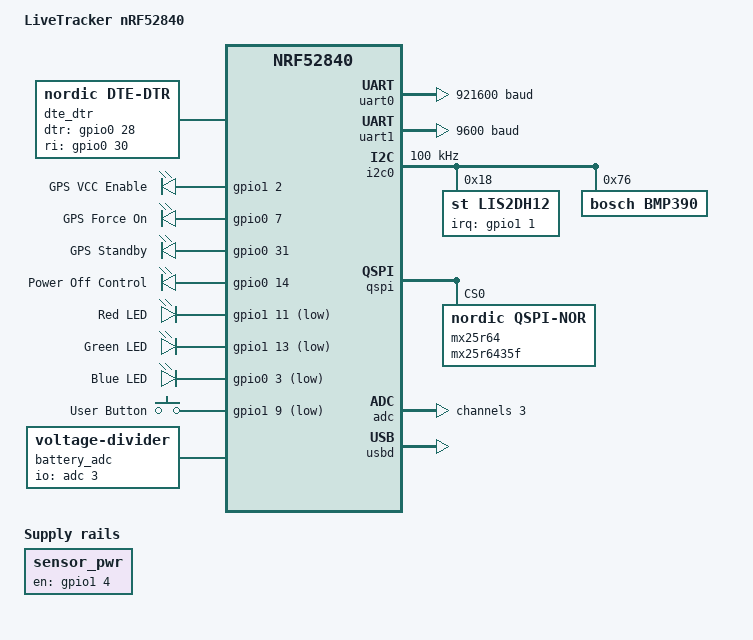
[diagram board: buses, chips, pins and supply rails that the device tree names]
/*
 * LiveTracker nRF52840 Board Device Tree
 *
 * Copyright (c) 2026 nRFModule
 * SPDX-License-Identifier: Apache-2.0
 *
 * Hardware:
 *   - nRF52840 WLCSP BGA100 (U4)
 *   - nRF9151 Cellular Modem (M1) - via UART + DTR/RI
 *   - MX25R6435F 8MB QSPI Flash (U5)
 *   - L76-L GPS Module (U6) - via UART
 *   - LIS2DH12 Accelerometer (U8) - via I2C
 *   - BMP390 Barometer (U9) - via I2C
 *   - RGB LED (D4)
 *   - User Button (SW)
 *   - USB-C Connector (J1)
 *
 * Power Architecture:
 *   - VDD_nRF: Main MCU power (always on)
 *   - VCC_BAT_S: nRF9151 power (always on when battery present)
 *   - VDD_sensors: Sensor power (GPIO controlled via P1.04)
 *   - Vcc_gnss: GPS power (GPIO controlled via P1.02)
 */

/dts-v1/;
#include <nordic/nrf52840_qiaa.dtsi>
#include <nordic/nrf52840_partition.dtsi>
#include "livetracker_nrf52840-pinctrl.dtsi"
#include <zephyr/dt-bindings/gpio/gpio.h>
#include <zephyr/dt-bindings/i2c/i2c.h>
#include <zephyr/dt-bindings/input/input-event-codes.h>

/ {
	model = "LiveTracker nRF52840";
	compatible = "nrfmodule,livetracker-nrf52840";

	chosen {
		zephyr,console = &cdc_acm_uart0;
		zephyr,shell-uart = &cdc_acm_uart0;
		zephyr,uart-mcumgr = &cdc_acm_uart0;
		zephyr,bt-mon-uart = &cdc_acm_uart0;
		zephyr,bt-c2h-uart = &cdc_acm_uart0;
		zephyr,sram = &sram0;
		zephyr,flash = &flash0;
		zephyr,code-partition = &slot0_partition;
		/* Serial Modem UART */
		ncs_sm_uart = &uart0;
	};

	/*
	 * Serial Modem DTR/RI GPIO Configuration
	 *
	 * DTR (Data Terminal Ready): nRF52840 P0.28 -> nRF9151 P0.31 (POWER)
	 *   Output from 52840, used to wake modem
	 *
	 * RI (Ring Indicator): nRF52840 P0.30 <- nRF9151 P0.30 (INDICATE)
	 *   Input to 52840, modem signals incoming data/call
	 */
	dte_dtr: dte_dtr {
		compatible = "nordic,dte-dtr";
		dtr-gpios = <&gpio0 28 GPIO_ACTIVE_HIGH>;
		ri-gpios = <&gpio0 30 GPIO_ACTIVE_HIGH>;
	};

	/*
	 * Power Control GPIOs
	 *
	 * Sensor VCC Enable: nRF52840 P1.04 (ball H1) -> U10 load switch
	 *   Controls VDD_sensors rail for LIS2DH12 and BMP390
	 *
	 * GPS VCC Enable: nRF52840 P1.02 (ball G3) -> U7 load switch
	 *   Controls Vcc_gnss rail for L76-L GPS module
	 *
	 * GPS Force On: nRF52840 P0.07 -> L76-L FORCE_ON pin
	 *   When HIGH, keeps GPS awake (overrides standby)
	 *
	 * GPS Standby: nRF52840 P0.31 -> L76-L STANDBY pin
	 *   When HIGH, puts GPS in low power standby mode
	 *
	 * Power Off: nRF52840 P0.14 -> Main power load switch control
	 *   Default HIGH (power on), set LOW to power off device
	 *
	 * NOTE: Application must enable these before using sensors/GPS
	 */
	sensor_pwr: sensor_pwr {
		compatible = "regulator-fixed";
		regulator-name = "sensor-vcc";
		enable-gpios = <&gpio1 4 GPIO_ACTIVE_HIGH>;
		regulator-boot-on;
		startup-delay-us = <50000>;
	};

	power_control {
		compatible = "gpio-leds";
		gps_vcc_en: gps_vcc_en {
			gpios = <&gpio1 2 GPIO_ACTIVE_HIGH>;
			label = "GPS VCC Enable";
		};
		gps_force_on: gps_force_on {
			gpios = <&gpio0 7 GPIO_ACTIVE_HIGH>;
			label = "GPS Force On";
		};
		gps_standby: gps_standby {
			gpios = <&gpio0 31 GPIO_ACTIVE_HIGH>;
			label = "GPS Standby";
		};
		poweroff_pin: poweroff_pin {
			gpios = <&gpio0 14 GPIO_ACTIVE_HIGH>;
			label = "Power Off Control";
		};
	};

	/*
	 * RGB LED (D4 - Common Anode, active low)
	 *
	 * Red:   nRF52840 P1.11 (ball A3)
	 * Green: nRF52840 P1.13 (ball A4)
	 * Blue:  nRF52840 P0.03 (ball A5)
	 */
	leds {
		compatible = "gpio-leds";
		led_red: led_0 {
			gpios = <&gpio1 11 GPIO_ACTIVE_LOW>;
			label = "Red LED";
		};
		led_green: led_1 {
			gpios = <&gpio1 13 GPIO_ACTIVE_LOW>;
			label = "Green LED";
		};
		led_blue: led_2 {
			gpios = <&gpio0 3 GPIO_ACTIVE_LOW>;
			label = "Blue LED";
		};
	};

	/*
	 * User Button (SW - Omron B3U)
	 *
	 * nRF52840 P1.09 (ball F10) <- Button via Q2 MOSFET
	 * Active low with internal pull-up
	 */
	buttons: buttons {
		compatible = "gpio-keys";
		button0: button_0 {
			gpios = <&gpio1 9 (GPIO_ACTIVE_LOW)>;
			label = "User Button";
			zephyr,code = <INPUT_KEY_0>;
		};
	};

	/*
	 * Battery Voltage Measurement
	 *
	 * nRF52840 P0.05/AIN3 (ball D10) <- Voltage divider (1:2)
	 * Actual battery voltage = ADC reading * 2
	 */
	battery_adc {
		compatible = "voltage-divider";
		io-channels = <&adc 3>;
		output-ohms = <1000000>;  /* R14: 1M bottom resistor */
		full-ohms = <2000000>;    /* R13 + R14: 2M total */
	};

	/* Aliases for common usage */
	aliases {
		led0 = &led_red;
		led1 = &led_green;
		led2 = &led_blue;
		sw0 = &button0;
		sm-uart = &uart0;
		gps-uart = &uart1;
		accel0 = &lis2dh12;
		baro0 = &bmp390;
		spi-flash0 = &mx25r64;
		poweroff = &poweroff_pin;
	};
};

/* Enable GPIO ports */
&gpio0 {
	status = "okay";
};

&gpio1 {
	status = "okay";
};

/* Enable GPIOTE for GPIO interrupt/event support */
&gpiote {
	status = "okay";
};

/*
 * Serial Modem UART (nRF52840 <-> nRF9151)
 *
 * TX:  P0.06 -> nRF9151 P0.11
 * RX:  P0.08 <- nRF9151 P0.10
 * No hardware flow control (RTS/CTS disabled)
 * 
 * To enable HW flow control, uncomment below and update pinctrl:
 *   RTS: P1.03 -> nRF9151 P0.12
 *   CTS: P1.06 <- nRF9151 P0.09
 */
&uart0 {
	compatible = "nordic,nrf-uarte";
	status = "okay";
	current-speed = <921600>;
	hw-flow-control;  /* Uncomment to enable RTS/CTS */
	pinctrl-0 = <&uart0_default>;
	pinctrl-1 = <&uart0_sleep>;
	pinctrl-names = "default", "sleep";
};

/*
 * GPS UART (nRF52840 <-> L76-L)
 *
 * TX: P0.11 -> GPS RX
 * RX: P0.13 <- GPS TX
 * Default 9600 baud for L76-L
 */
&uart1 {
	compatible = "nordic,nrf-uarte";
	status = "okay";
	current-speed = <9600>;
	pinctrl-0 = <&uart1_default>;
	pinctrl-1 = <&uart1_sleep>;
	pinctrl-names = "default", "sleep";
};

/*
 * I2C Bus for Sensors
 *
 * SCL: P1.12
 * SDA: P1.15
 *
 * Devices:
 *   - LIS2DH12 @ 0x18 (accelerometer, SDO tied LOW)
 *   - BMP390 @ 0x76 (barometer, SDO tied LOW)
 */
&i2c0 {
	compatible = "nordic,nrf-twim";
	status = "okay";
	clock-frequency = <I2C_BITRATE_STANDARD>;
	pinctrl-0 = <&i2c0_default>;
	pinctrl-1 = <&i2c0_sleep>;
	pinctrl-names = "default", "sleep";

	lis2dh12: lis2dh12@18 {
		compatible = "st,lis2dh12", "st,lis2dh";
		reg = <0x18>;
		/* INT1: nRF52840 P1.01 (ball J1) */
		irq-gpios = <&gpio1 1 GPIO_ACTIVE_HIGH>;
	};

	/*
	 * BMP390 Barometer
	 * 
	 * Supported via BMP388 driver (bosch,bmp390 compatible)
	 */
	bmp390: bmp390@76 {
		compatible = "bosch,bmp390";
		reg = <0x76>;
		odr = "50";
		osr-press = <4>;
		osr-temp = <2>;
	};
};

/*
 * QSPI Flash (MX25R6435F - 8MB)
 *
 * NOTE: Partitions are NOT defined here.
 * Use overlay files to define partitions based on application needs.
 * Example: LittleFS, MCUboot slots, etc.
 */
&qspi {
	status = "okay";
	pinctrl-0 = <&qspi_default>;
	pinctrl-1 = <&qspi_sleep>;
	pinctrl-names = "default", "sleep";

	mx25r64: mx25r6435f@0 {
		compatible = "nordic,qspi-nor";
		reg = <0>;
		sck-frequency = <8000000>;
		jedec-id = [c2 28 17];
		sfdp-bfp = [
			e5 20 f1 ff  ff ff ff 03  44 eb 08 6b  08 3b 04 bb
			ee ff ff ff  ff ff 00 ff  ff ff 00 ff  0c 20 0f 52
			10 d8 00 ff  23 72 f5 00  82 ed 04 cc  44 83 68 44
			30 b0 30 b0  f7 c4 d5 5c  00 be 29 ff  f0 d0 ff ff
		];
		size = <67108864>; /* 64 Mbit = 8 MB */
		has-dpd;
		t-enter-dpd = <10000>;
		t-exit-dpd = <35000>;
	};
};

/* ADC for battery voltage measurement */
&adc {
	status = "okay";
	#address-cells = <1>;
	#size-cells = <0>;

	channel@3 {
		reg = <3>;
		zephyr,gain = "ADC_GAIN_1_6";
		zephyr,reference = "ADC_REF_INTERNAL";
		zephyr,acquisition-time = <ADC_ACQ_TIME_DEFAULT>;
		zephyr,input-positive = <NRF_SAADC_AIN3>;
		zephyr,resolution = <12>;
	};
};

/* USB - new USBD stack (CONFIG_USB_DEVICE_STACK_NEXT) */
zephyr_udc0: &usbd {
	compatible = "nordic,nrf-usbd";
	status = "okay";

	cdc_acm_uart0: cdc_acm_uart0 {
		compatible = "zephyr,cdc-acm-uart";
	};
};
